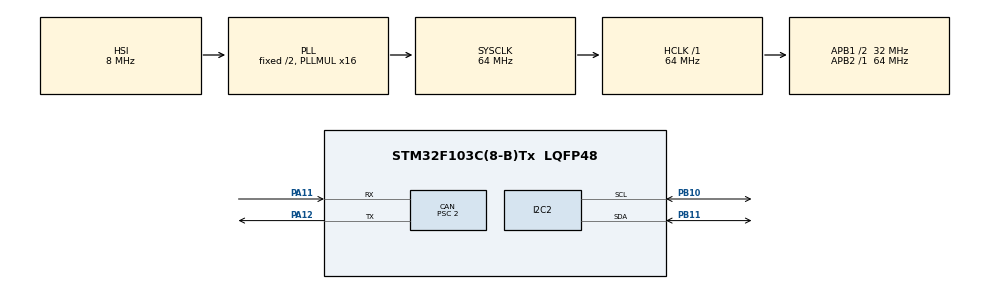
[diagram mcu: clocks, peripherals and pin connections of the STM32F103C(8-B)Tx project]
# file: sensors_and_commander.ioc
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CAN.BS1=CAN_BS1_14TQ
CAN.CalculateBaudRate=1000000
CAN.CalculateTimeBit=1000
CAN.CalculateTimeQuantum=62.5
CAN.Prescaler=2
I2C2.I2C_Mode=I2C_Fast
Mcu.Family=STM32F1
Mcu.Name=STM32F103C(8-B)Tx
Mcu.Package=LQFP48
NVIC.I2C2_EV_IRQn=true\:0\:0\:false\:false\:true\:true\:true\:true
NVIC.PriorityGroup=NVIC_PRIORITYGROUP_4
NVIC.USB_LP_CAN1_RX0_IRQn=true\:0\:0\:false\:false\:true\:true\:true\:true
PA11.Mode=CAN_Activate
PA11.Signal=CAN_RX
PA12.Mode=CAN_Activate
PA12.Signal=CAN_TX
PA13.Mode=Serial_Wire
PA13.Signal=SYS_JTMS-SWDIO
PA14.Mode=Serial_Wire
PA14.Signal=SYS_JTCK-SWCLK
PB10.Mode=I2C
PB10.Signal=I2C2_SCL
PB11.Mode=I2C
PB11.Signal=I2C2_SDA
ProjectManager.HeapSize=0x200
ProjectManager.StackSize=0x400
ProjectManager.TargetToolchain=STM32CubeIDE
RCC.AHBFreq_Value=64000000
RCC.APB1CLKDivider=RCC_HCLK_DIV2
RCC.APB1Freq_Value=32000000
RCC.APB1TimFreq_Value=64000000
RCC.APB2Freq_Value=64000000
RCC.APB2TimFreq_Value=64000000
RCC.HCLKFreq_Value=64000000
RCC.PLLMUL=RCC_PLL_MUL16
RCC.SYSCLKFreq_VALUE=64000000
RCC.SYSCLKSource=RCC_SYSCLKSOURCE_PLLCLK
RCC.USBFreq_Value=64000000
board=custom

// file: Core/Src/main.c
/* USER CODE BEGIN Header */
/**
  ******************************************************************************
  * @file           : main.c
  * @brief          : Main program body
  ******************************************************************************
  * @attention
  *
  * Copyright (c) 2026 STMicroelectronics.
  * All rights reserved.
  *
  * This software is licensed under terms that can be found in the LICENSE file
  * in the root directory of this software component.
  * If no LICENSE file comes with this software, it is provided AS-IS.
  *
  ******************************************************************************
  */
/* USER CODE END Header */
#include "main.h"

/* USER CODE BEGIN Includes */
#include "mpu6050.h"
#include "can_communication.h"
/* USER CODE END Includes */

CAN_HandleTypeDef hcan;

I2C_HandleTypeDef hi2c2;

void SystemClock_Config(void);
static void MX_GPIO_Init(void);
static void MX_CAN_Init(void);
static void MX_I2C2_Init(void);

int main(void)
{

  /* MCU Configuration--------------------------------------------------------*/

  /* Reset of all peripherals, Initializes the Flash interface and the Systick. */
  HAL_Init();

  /* Configure the system clock */
  SystemClock_Config();

  /* Initialize all configured peripherals */
  MX_GPIO_Init();
  MX_CAN_Init();
  MX_I2C2_Init();
  /* USER CODE BEGIN 2 */
  mpu6050_wake_device(&hi2c2);
  can_test_transmission(&hcan);
  /* USER CODE END 2 */

  /* Infinite loop */
  /* USER CODE BEGIN WHILE */
  while (1)
  {
    switch (current_i2c_state) {
      case I2C_STATE_IDLE:
        mpu6050_read_data(&hi2c2);
        break;
      case I2C_STATE_READING_MPU6050_DATA:
        break;
      case I2C_STATE_READ_MPU6050_DATA:
        mpu6050_save_data();
        break;
    }
    /* USER CODE END WHILE */

  }
}

void SystemClock_Config(void)
{
  RCC_OscInitTypeDef RCC_OscInitStruct = {0};
  RCC_ClkInitTypeDef RCC_ClkInitStruct = {0};

  /** Initializes the RCC Oscillators according to the specified parameters
  * in the RCC_OscInitTypeDef structure.
  */
  RCC_OscInitStruct.OscillatorType = RCC_OSCILLATORTYPE_HSI;
  RCC_OscInitStruct.HSIState = RCC_HSI_ON;
  RCC_OscInitStruct.HSICalibrationValue = RCC_HSICALIBRATION_DEFAULT;
  RCC_OscInitStruct.PLL.PLLState = RCC_PLL_ON;
  RCC_OscInitStruct.PLL.PLLSource = RCC_PLLSOURCE_HSI_DIV2;
  RCC_OscInitStruct.PLL.PLLMUL = RCC_PLL_MUL16;
  if (HAL_RCC_OscConfig(&RCC_OscInitStruct) != HAL_OK)
  {
    Error_Handler();
  }

  /** Initializes the CPU, AHB and APB buses clocks
  */
  RCC_ClkInitStruct.ClockType = RCC_CLOCKTYPE_HCLK|RCC_CLOCKTYPE_SYSCLK
                              |RCC_CLOCKTYPE_PCLK1|RCC_CLOCKTYPE_PCLK2;
  RCC_ClkInitStruct.SYSCLKSource = RCC_SYSCLKSOURCE_PLLCLK;
  RCC_ClkInitStruct.AHBCLKDivider = RCC_SYSCLK_DIV1;
  RCC_ClkInitStruct.APB1CLKDivider = RCC_HCLK_DIV2;
  RCC_ClkInitStruct.APB2CLKDivider = RCC_HCLK_DIV1;

  if (HAL_RCC_ClockConfig(&RCC_ClkInitStruct, FLASH_LATENCY_2) != HAL_OK)
  {
    Error_Handler();
  }
}

static void MX_CAN_Init(void)
{

  hcan.Instance = CAN1;
  hcan.Init.Prescaler = 2;
  hcan.Init.Mode = CAN_MODE_NORMAL;
  hcan.Init.SyncJumpWidth = CAN_SJW_1TQ;
  hcan.Init.TimeSeg1 = CAN_BS1_14TQ;
  hcan.Init.TimeSeg2 = CAN_BS2_1TQ;
  hcan.Init.TimeTriggeredMode = DISABLE;
  hcan.Init.AutoBusOff = DISABLE;
  hcan.Init.AutoWakeUp = DISABLE;
  hcan.Init.AutoRetransmission = DISABLE;
  hcan.Init.ReceiveFifoLocked = DISABLE;
  hcan.Init.TransmitFifoPriority = DISABLE;
  if (HAL_CAN_Init(&hcan) != HAL_OK)
  {
    Error_Handler();
  }
  /* USER CODE BEGIN CAN_Init 2 */
  if (HAL_CAN_Start(&hcan) != HAL_OK)
  {
    Error_Handler();
  }
  /* USER CODE END CAN_Init 2 */

}

static void MX_I2C2_Init(void)
{

  hi2c2.Instance = I2C2;
  hi2c2.Init.ClockSpeed = 400000;
  hi2c2.Init.DutyCycle = I2C_DUTYCYCLE_2;
  hi2c2.Init.OwnAddress1 = 0;
  hi2c2.Init.AddressingMode = I2C_ADDRESSINGMODE_7BIT;
  hi2c2.Init.DualAddressMode = I2C_DUALADDRESS_DISABLE;
  hi2c2.Init.OwnAddress2 = 0;
  hi2c2.Init.GeneralCallMode = I2C_GENERALCALL_DISABLE;
  hi2c2.Init.NoStretchMode = I2C_NOSTRETCH_DISABLE;
  if (HAL_I2C_Init(&hi2c2) != HAL_OK)
  {
    Error_Handler();
  }

}

static void MX_GPIO_Init(void)
{

  /* GPIO Ports Clock Enable */
  __HAL_RCC_GPIOB_CLK_ENABLE();
  __HAL_RCC_GPIOA_CLK_ENABLE();

}

void Error_Handler(void)
{
  __disable_irq();
  while (1)
  {
  }
}
